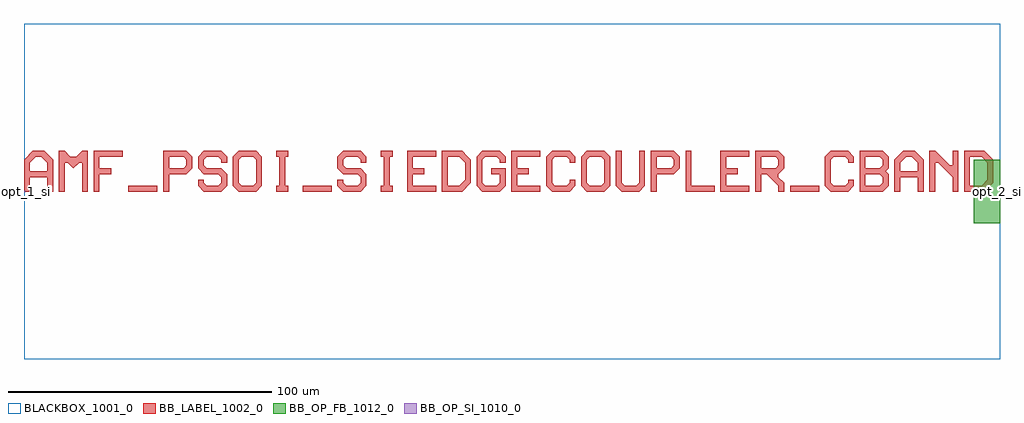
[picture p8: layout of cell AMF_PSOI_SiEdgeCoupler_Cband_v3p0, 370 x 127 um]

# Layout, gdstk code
import gdstk
lib = gdstk.Library(unit=1e-6, precision=1e-09)
def R(c, l, rs):  # rectangles x0, y0, x1, y1
    for r in rs: c.add(gdstk.rectangle(r[:2], r[2:], *l))
def P(c, l, *ps):  # polygons
    for p in ps: c.add(gdstk.Polygon(p, *l))
BLACKBOX_1001_0 = (1001, 0)
BB_LABEL_1002_0 = (1002, 0)
BB_OP_SI_1010_0 = (1010, 0)
BB_OP_FB_1012_0 = (1012, 0)

amf_psoi_siedgecoupler_c = lib.new_cell('AMF_PSOI_SiEdgeCoupler_Cband_v3p0')
R(amf_psoi_siedgecoupler_c, BLACKBOX_1001_0, [(0,-63.5,370,63.5)])
R(amf_psoi_siedgecoupler_c, BB_LABEL_1002_0, [(39.601,-0.007,50.601,2.193), (105.601,-0.007,116.601,2.193), (290.401,-0.007,301.401,2.193)])
P(amf_psoi_siedgecoupler_c, BB_LABEL_1002_0, [(0.001,-0.007),(0.001,12.093),(3.301,15.393),(7.701,15.393),(9.901,13.193),(4.401,13.193),(2.201,10.993),(2.201,7.693),(8.801,7.693),(8.801,10.993),(6.601,13.193),(9.901,13.193),(11.001,12.093),(11.001,-0.007),(8.801,-0.007),(8.801,5.493),(2.201,5.493),(2.201,-0.007)],
  [(13.201,-0.007),(13.201,15.393),(15.401,15.393),(17.601,13.193),(19.801,13.193),(22.001,15.393),(24.201,15.393),(24.201,-0.007),(22.001,-0.007),(22.001,10.993),(20.901,10.993),(18.701,8.793),(16.501,10.993),(15.401,10.993),(15.401,-0.007)],
  [(26.401,-0.007),(26.401,15.393),(37.401,15.393),(37.401,13.193),(28.601,13.193),(28.601,8.793),(33.001,8.793),(33.001,6.593),(28.601,6.593),(28.601,-0.007)],
  [(52.801,-0.007),(52.801,15.393),(61.601,15.393),(63.801,13.193),(63.801,8.793),(61.601,6.593),(55.001,6.593),(55.001,8.793),(60.501,8.793),(61.601,9.893),(61.601,12.093),(60.501,13.193),(55.001,13.193),(55.001,-0.007)],
  [(68.201,-0.007),(66.001,2.193),(66.001,4.393),(68.201,4.393),(68.201,3.293),(69.301,2.193),(73.701,2.193),(74.801,3.293),(74.801,5.493),(73.701,6.593),(68.201,6.593),(66.001,8.793),(66.001,13.193),(68.201,15.393),(74.801,15.393),(77.001,13.193),(77.001,10.993),(74.801,10.993),(74.801,12.093),(73.701,13.193),(69.301,13.193),(68.201,12.093),(68.201,9.893),(69.301,8.793),(74.801,8.793),(77.001,6.593),(77.001,2.193),(74.801,-0.007)],
  [(81.401,-0.007),(79.201,2.193),(79.201,13.193),(81.401,15.393),(88.001,15.393),(90.201,13.193),(90.201,7.693),(88.001,7.693),(88.001,12.093),(86.901,13.193),(82.501,13.193),(81.401,12.093),(81.401,3.293),(82.501,2.193),(86.901,2.193),(88.001,3.293),(88.001,7.693),(90.201,7.693),(90.201,2.193),(88.001,-0.007)],
  [(95.701,-0.007),(95.701,2.193),(96.801,2.193),(96.801,13.193),(95.701,13.193),(95.701,15.393),(100.101,15.393),(100.101,13.193),(99.001,13.193),(99.001,2.193),(100.101,2.193),(100.101,-0.007)],
  [(121.001,-0.007),(118.801,2.193),(118.801,4.393),(121.001,4.393),(121.001,3.293),(122.101,2.193),(126.501,2.193),(127.601,3.293),(127.601,5.493),(126.501,6.593),(121.001,6.593),(118.801,8.793),(118.801,13.193),(121.001,15.393),(127.601,15.393),(129.801,13.193),(129.801,10.993),(127.601,10.993),(127.601,12.093),(126.501,13.193),(122.101,13.193),(121.001,12.093),(121.001,9.893),(122.101,8.793),(127.601,8.793),(129.801,6.593),(129.801,2.193),(127.601,-0.007)],
  [(135.301,-0.007),(135.301,2.193),(136.401,2.193),(136.401,13.193),(135.301,13.193),(135.301,15.393),(139.701,15.393),(139.701,13.193),(138.601,13.193),(138.601,2.193),(139.701,2.193),(139.701,-0.007)],
  [(145.201,-0.007),(145.201,15.393),(156.201,15.393),(156.201,13.193),(147.401,13.193),(147.401,8.793),(151.801,8.793),(151.801,6.593),(147.401,6.593),(147.401,2.193),(156.201,2.193),(156.201,-0.007)],
  [(158.401,-0.007),(158.401,15.393),(166.101,15.393),(168.301,13.193),(160.601,13.193),(160.601,2.193),(165.001,2.193),(167.201,4.393),(167.201,10.993),(165.001,13.193),(168.301,13.193),(169.401,12.093),(169.401,3.293),(166.101,-0.007)],
  [(173.801,-0.007),(171.601,2.193),(171.601,13.193),(173.801,15.393),(180.401,15.393),(182.601,13.193),(182.601,10.993),(180.401,10.993),(180.401,12.093),(179.301,13.193),(174.901,13.193),(173.801,12.093),(173.801,3.293),(174.901,2.193),(179.301,2.193),(180.401,3.293),(180.401,6.593),(177.101,6.593),(177.101,8.793),(182.601,8.793),(182.601,2.193),(180.401,-0.007)],
  [(184.801,-0.007),(184.801,15.393),(195.801,15.393),(195.801,13.193),(187.001,13.193),(187.001,8.793),(191.401,8.793),(191.401,6.593),(187.001,6.593),(187.001,2.193),(195.801,2.193),(195.801,-0.007)],
  [(200.201,-0.007),(198.001,2.193),(198.001,13.193),(200.201,15.393),(206.801,15.393),(209.001,13.193),(209.001,10.993),(206.801,10.993),(206.801,12.093),(205.701,13.193),(201.301,13.193),(200.201,12.093),(200.201,3.293),(201.301,2.193),(205.701,2.193),(206.801,3.293),(206.801,4.393),(209.001,4.393),(209.001,2.193),(206.801,-0.007)],
  [(213.401,-0.007),(211.201,2.193),(211.201,13.193),(213.401,15.393),(220.001,15.393),(222.201,13.193),(222.201,7.693),(220.001,7.693),(220.001,12.093),(218.901,13.193),(214.501,13.193),(213.401,12.093),(213.401,3.293),(214.501,2.193),(218.901,2.193),(220.001,3.293),(220.001,7.693),(222.201,7.693),(222.201,2.193),(220.001,-0.007)],
  [(226.601,-0.007),(224.401,2.193),(224.401,15.393),(226.601,15.393),(226.601,3.293),(227.701,2.193),(232.101,2.193),(233.201,3.293),(233.201,15.393),(235.401,15.393),(235.401,2.193),(233.201,-0.007)],
  [(237.601,-0.007),(237.601,15.393),(246.401,15.393),(248.601,13.193),(248.601,8.793),(246.401,6.593),(239.801,6.593),(239.801,8.793),(245.301,8.793),(246.401,9.893),(246.401,12.093),(245.301,13.193),(239.801,13.193),(239.801,-0.007)],
  [(250.801,-0.007),(250.801,15.393),(253.001,15.393),(253.001,2.193),(261.801,2.193),(261.801,-0.007)],
  [(264.001,-0.007),(264.001,15.393),(275.001,15.393),(275.001,13.193),(266.201,13.193),(266.201,8.793),(270.601,8.793),(270.601,6.593),(266.201,6.593),(266.201,2.193),(275.001,2.193),(275.001,-0.007)],
  [(277.201,-0.007),(277.201,15.393),(286.001,15.393),(288.201,13.193),(279.401,13.193),(279.401,8.793),(284.901,8.793),(286.001,9.893),(286.001,12.093),(284.901,13.193),(288.201,13.193),(288.201,8.793),(286.001,6.593),(286.001,5.493),(288.201,3.293),(288.201,-0.007),(286.001,-0.007),(286.001,2.193),(281.601,6.593),(279.401,6.593),(279.401,-0.007)],
  [(305.801,-0.007),(303.601,2.193),(303.601,13.193),(305.801,15.393),(312.401,15.393),(314.601,13.193),(314.601,10.993),(312.401,10.993),(312.401,12.093),(311.301,13.193),(306.901,13.193),(305.801,12.093),(305.801,3.293),(306.901,2.193),(311.301,2.193),(312.401,3.293),(312.401,4.393),(314.601,4.393),(314.601,2.193),(312.401,-0.007)],
  [(316.801,-0.007),(316.801,15.393),(325.601,15.393),(327.801,13.193),(319.001,13.193),(319.001,8.793),(324.501,8.793),(325.601,9.893),(325.601,12.093),(324.501,13.193),(327.801,13.193),(327.801,8.793),(326.701,7.693),(327.801,6.593),(319.001,6.593),(319.001,2.193),(324.501,2.193),(325.601,3.293),(325.601,5.493),(324.501,6.593),(327.801,6.593),(327.801,2.193),(325.601,-0.007)],
  [(330.001,-0.007),(330.001,12.093),(333.301,15.393),(337.701,15.393),(339.901,13.193),(334.401,13.193),(332.201,10.993),(332.201,7.693),(338.801,7.693),(338.801,10.993),(336.601,13.193),(339.901,13.193),(341.001,12.093),(341.001,-0.007),(338.801,-0.007),(338.801,5.493),(332.201,5.493),(332.201,-0.007)],
  [(343.201,-0.007),(343.201,15.393),(345.401,15.393),(350.901,9.893),(352.001,9.893),(352.001,15.393),(354.201,15.393),(354.201,-0.007),(352.001,-0.007),(352.001,5.493),(346.501,10.993),(345.401,10.993),(345.401,-0.007)],
  [(356.401,-0.007),(356.401,15.393),(364.101,15.393),(366.301,13.193),(358.601,13.193),(358.601,2.193),(363.001,2.193),(365.201,4.393),(365.201,10.993),(363.001,13.193),(366.301,13.193),(367.401,12.093),(367.401,3.293),(364.101,-0.007)])
R(amf_psoi_siedgecoupler_c, BB_OP_SI_1010_0, [(0,-0.25,0.5,0.25)])
R(amf_psoi_siedgecoupler_c, BB_OP_FB_1012_0, [(360,-12,370,12)])
amf_psoi_siedgecoupler_c.add(gdstk.Label('opt_1_si', (0,0), layer=1010, texttype=0))
amf_psoi_siedgecoupler_c.add(gdstk.Label('opt_2_si', (370,0), layer=1012, texttype=0))

lib.write_gds('AMF_PSOI_SiEdgeCoupler_Cband_v3p0.gds')
